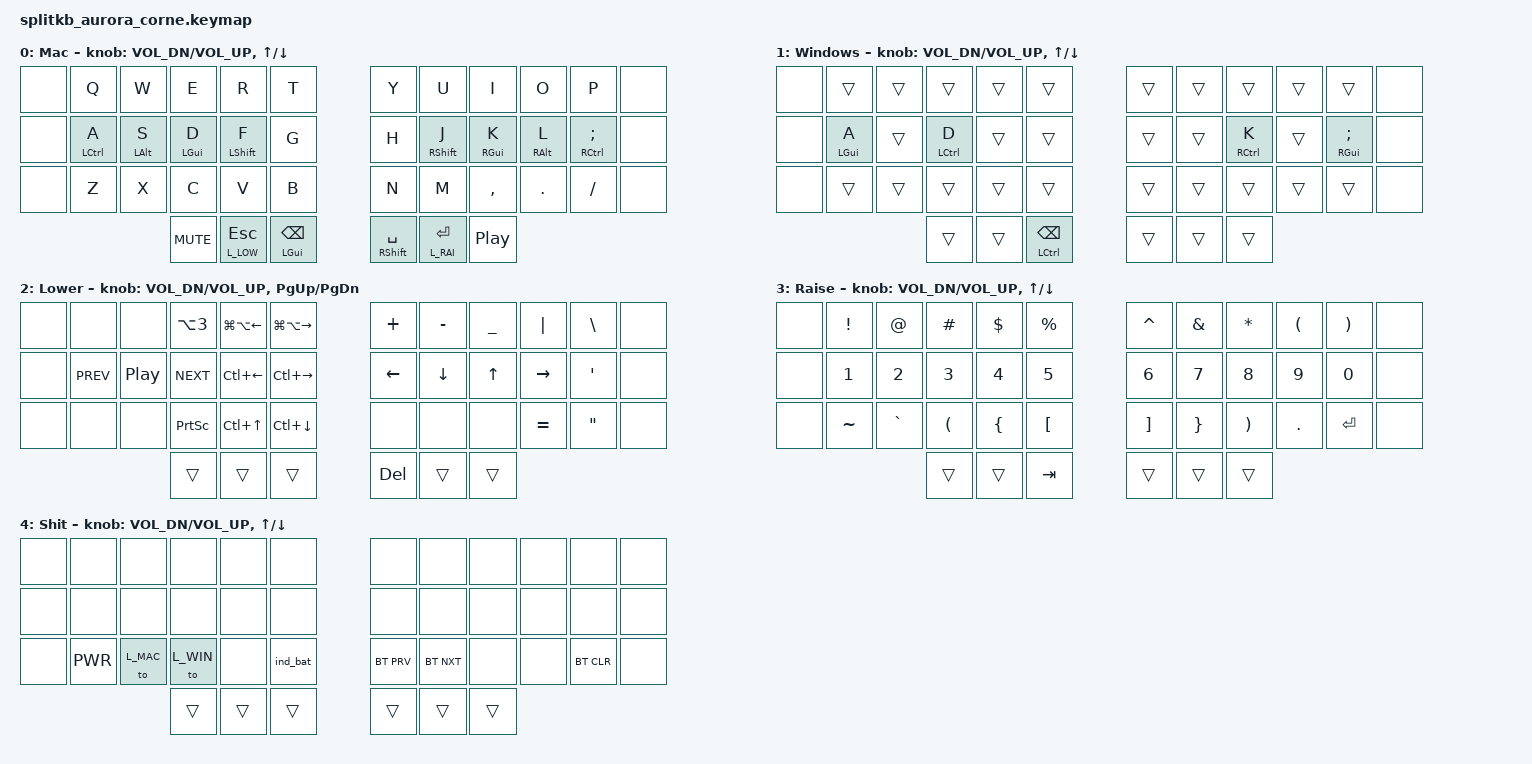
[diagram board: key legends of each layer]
/*
 * Copyright (c) 2020 The ZMK Contributors
 *
 * SPDX-License-Identifier: MIT
 */

#include <behaviors.dtsi>
#include <dt-bindings/zmk/keys.h>
#include <dt-bindings/zmk/bt.h>
#include <behaviors/rgbled_widget.dtsi>

// layers
#define L_MAC   0
#define L_WIN   1
#define L_LOW   2
#define L_RAI   3
#define L_TRI   4

#define XXX     &none
#define ___     &trans

// mac
#define M_PTAB  &kp LG(LA(LEFT))
#define M_NTAB  &kp LG(LA(RIGHT))
#define M_PDSK  &kp LC(LEFT)
#define M_NDSK  &kp LC(RIGHT)
#define M_CTRL  &kp LC(UP)
#define M_WINS  &kp LC(DOWN)
#define M_GBP   &kp LA(3)

&sensors {
    triggers-per-rotation = <40>;
};

&mt {
    quick-tap-ms = <199>;
    tapping-term-ms = <250>;
    flavor = "tap-preferred";
};

&lt {
    tapping-term-ms = <150>;
    flavor = "hold-preferred";
};

&nice_view_spi {
    cs-gpios = <&pro_micro 0 GPIO_ACTIVE_HIGH>;
};


/ {
    aliases {
        led-red = &led0;
        led-green = &led1;
        led-blue = &led2;
    };

    leds {
        compatible = "gpio-leds";
        status = "okay";
        led0: led_0 {
            gpios = <&gpio1 7 GPIO_ACTIVE_LOW>;  // red LED, connected to P1.07
        };
        led1: led_1 {
            gpios = <&gpio1 2 GPIO_ACTIVE_LOW>;  // green LED, connected to P1.02
        };
        led2: led_2 {
            gpios = <&gpio1 1 GPIO_ACTIVE_LOW>;  // blue LED, connected to P1.01
        };
    };
};

/ {
    behaviors {
        hml: home_row_mod_left {
            compatible = "zmk,behavior-hold-tap";
            #binding-cells = <2>;
            flavor = "balanced";
            require-prior-idle-ms = <150>;
            tapping-term-ms = <280>;
            quick-tap-ms = <175>;
            bindings = <&kp>, <&kp>;
            hold-trigger-key-positions = < 6 7 8 9 10 11 18 19 20 21 22 23 30 31 32 33 34 35 39 40 41 >; // List of keys on the right side of the keyboard
            hold-trigger-on-release;
        };
        hmr: home_row_mod_right {
            compatible = "zmk,behavior-hold-tap";
            #binding-cells = <2>;
            flavor = "balanced";
            require-prior-idle-ms = <150>;
            tapping-term-ms = <280>;
            quick-tap-ms = <175>;
            bindings = <&kp>, <&kp>;
            hold-trigger-key-positions = < 0 1 2 3 4 5 12 13 14 15 16 17 24 25 26 27 28 29 36 37 38 >; // List of keys on the left side of the keyboard
            hold-trigger-on-release;
        };
    };
};

/ {
    conditional_layers {
        compatible = "zmk,conditional-layers";
        tri_layer {
            if-layers = <L_LOW L_RAI>;
            then-layer = <L_TRI>;
        };
    };
};

/ {
        keymap {
                compatible = "zmk,keymap";

                mac_layer {
                        display-name = "Mac";
                        bindings = <
//  ╭─────────────┬─────────────┬─────────────┬─────────────┬─────────────╮ ╭─────────────┬─────────────┬─────────────┬─────────────┬─────────────╮
XXX  &kp Q         &kp W         &kp E         &kp R         &kp T           &kp Y         &kp U         &kp I         &kp O         &kp P           XXX    // 0-5   | 6-11
//  ├─────────────┼─────────────┼─────────────┼─────────────┼─────────────┤ ├─────────────┼─────────────┼─────────────┼─────────────┼─────────────┤
XXX  &hml LCTRL A  &hml LALT S   &hml LGUI D   &hml LSHFT F  &kp G           &kp H         &hmr RSHFT J  &hmr RGUI K   &hmr RALT L  &hmr RCTRL SEMI  XXX    // 12-17 | 18-23
//  ├─────────────┼─────────────┼─────────────┼─────────────┼─────────────┤ ├─────────────┼─────────────┼─────────────┼─────────────┼─────────────┤
XXX  &kp Z         &kp X         &kp C         &kp V         &kp B           &kp N         &kp M         &kp COMMA     &kp DOT       &kp FSLH        XXX    // 24-29 | 30-35
//  ╰─────────────┼─────────────┴─────────────┼─────────────┼─────────────┤ ├─────────────┼─────────────┼─────────────┴─────────────┼─────────────╯
                                 &kp C_MUTE    &lt L_LOW ESC &mt LGUI BSPC  &mt RSHFT SPACE &lt L_RAI RET &kp C_PP                                          // 36-38 | 39-41
//                              ╰─────────────┴─────────────┴─────────────╯ ╰─────────────┴─────────────┴─────────────╯
                        >;
                        sensor-bindings = <
                            &inc_dec_kp C_VOL_DN C_VOL_UP
                            &inc_dec_kp UP DOWN
                        >;
                };
                windows_layer {
                        display-name = "Windows";
                        bindings = <
//  ╭─────────────┬─────────────┬─────────────┬─────────────┬─────────────╮ ╭─────────────┬─────────────┬─────────────┬─────────────┬─────────────╮
XXX  ___           ___           ___           ___           ___             ___           ___           ___           ___           ___             XXX
//  ├─────────────┼─────────────┼─────────────┼─────────────┼─────────────┤ ├─────────────┼─────────────┼─────────────┼─────────────┼─────────────┤
XXX  &hml LGUI A   ___           &hml LCTRL D  ___           ___             ___           ___           &hmr RCTRL K  ___           &hmr RGUI SEMI  XXX
//  ├─────────────┼─────────────┼─────────────┼─────────────┼─────────────┤ ├─────────────┼─────────────┼─────────────┼─────────────┼─────────────┤
XXX  ___           ___           ___           ___           ___             ___           ___           ___           ___           ___             XXX
//  ╰─────────────┼─────────────┴─────────────┼─────────────┼─────────────┤ ├─────────────┼─────────────┼─────────────┴─────────────┼─────────────╯
                                 ___           ___           &mt LCTRL BSPC  ___           ___           ___
//                              ╰─────────────┴─────────────┴─────────────╯ ╰─────────────┴─────────────┴─────────────╯
                        >;
                        sensor-bindings = <
                            &inc_dec_kp C_VOL_DN C_VOL_UP
                            &inc_dec_kp UP DOWN
                        >;
                };
                lower_mac_layer {
                        display-name = "Lower";
                        bindings = <
   XXX XXX        XXX      M_GBP      M_PTAB     M_NTAB            &kp PLUS   &kp MINUS  &kp UNDER  &kp PIPE    &kp BSLH     XXX
   XXX &kp C_PREV &kp C_PP &kp C_NEXT M_PDSK     M_NDSK            &kp LEFT   &kp DOWN   &kp UP     &kp RIGHT   &kp SQT      XXX 
   XXX XXX        XXX      &kp PSCRN  M_CTRL     M_WINS            XXX        XXX        XXX        &kp EQUAL   &kp DQT      XXX
                           ___        ___        ___               &kp DEL    ___        ___
                        >;
                        sensor-bindings = <
                            &inc_dec_kp C_VOL_DN C_VOL_UP
                            &inc_dec_kp PG_UP PG_DN
                        >;
                };
                raise_layer {
                        display-name = "Raise";
                        bindings = <
   XXX &kp EXCL  &kp AT    &kp HASH &kp DLLR &kp PRCNT        &kp CARET &kp AMPS &kp ASTRK &kp LPAR &kp RPAR XXX
   XXX &kp N1    &kp N2    &kp N3   &kp N4   &kp N5           &kp N6    &kp N7   &kp N8    &kp N9   &kp N0   XXX
   XXX &kp TILDE &kp GRAVE &kp LPAR &kp LBRC &kp LBKT         &kp RBKT  &kp RBRC &kp RPAR  &kp DOT  &kp RET  XXX
                           ___      ___      &kp TAB          ___       ___      ___
                        >;
                        sensor-bindings = <
                            &inc_dec_kp C_VOL_DN C_VOL_UP
                            &inc_dec_kp UP DOWN
                        >;
                };
                tri_layer {
                        display-name = "Shit";
                        bindings = <
//╭─────────────┬─────────────┬─────────────┬─────────────┬─────────────╮ ╭─────────────┬─────────────┬─────────────┬─────────────┬─────────────╮
XXX XXX           XXX           XXX           XXX           XXX             XXX           XXX           XXX           XXX           XXX          XXX
//├─────────────┼─────────────┼─────────────┼─────────────┼─────────────┤ ├─────────────┼─────────────┼─────────────┼─────────────┼─────────────┤
XXX XXX           XXX           XXX           XXX           XXX             XXX           XXX           XXX           XXX           XXX          XXX
//├─────────────┼─────────────┼─────────────┼─────────────┼─────────────┤ ├─────────────┼─────────────┼─────────────┼─────────────┼─────────────┤
XXX &kp C_PWR     &to L_MAC     &to L_WIN     XXX           &ind_bat        &bt BT_PRV    &bt BT_NXT    XXX           XXX           &bt BT_CLR   XXX
//╰─────────────┼─────────────┴─────────────┼─────────────┼─────────────┤ ├─────────────┼─────────────┼─────────────┴─────────────┼─────────────╯
                                ___           ___           ___             ___           ___           ___
//                            ╰─────────────┴─────────────┴─────────────╯ ╰─────────────┴─────────────┴─────────────╯
                        >;
                        sensor-bindings = <
                            &inc_dec_kp C_VOL_DN C_VOL_UP
                            &inc_dec_kp UP DOWN
                        >;
                };
        };
};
